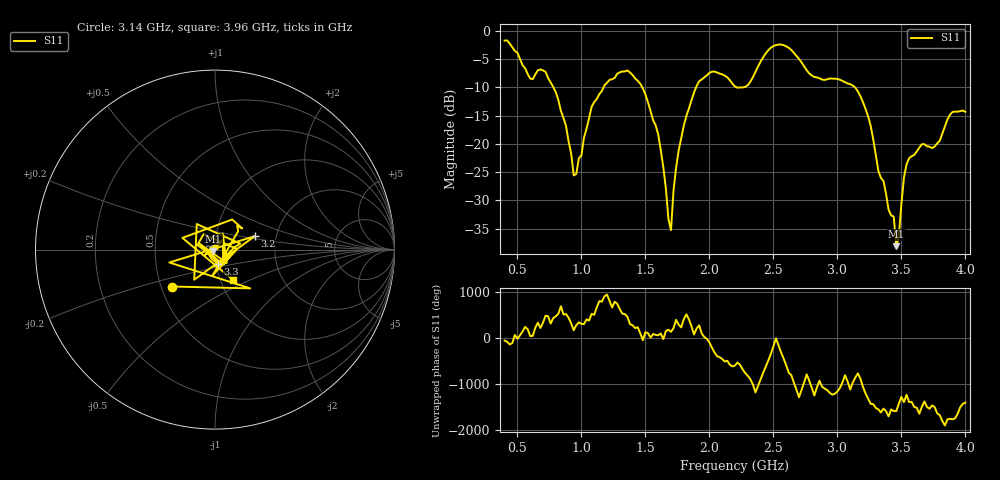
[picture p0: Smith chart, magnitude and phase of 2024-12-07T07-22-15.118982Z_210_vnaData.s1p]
!Created with skrf (http://scikit-rf.org).
# Hz S RI R 50.0
!freq ReS11 ImS11
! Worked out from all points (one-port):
!   181 points, 400 MHz to 4 GHz, reference 50 ohm
!   lowest |S11| = -38.1 dB at 3.46 GHz (marker M1), VSWR 1.03, Z = 49 - j0.706 ohm
!   |S11| at or under -10 dB: 781.8 MHz to 1.173 GHz (390.7 MHz wide, 40 % of centre); 1.476 GHz to 1.896 GHz (419.5 MHz wide, 24.9 % of centre); 3.139 GHz to end of sweep (the widest 3 of 4)
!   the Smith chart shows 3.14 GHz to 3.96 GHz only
!   S11 on the Smith chart (normalised r, x): 3.14 GHz: 0.57, -0.26; 3.2 GHz: 1.55, +0.24; 3.3 GHz: 1.02, -0.16; 3.96 GHz: 1.15, -0.40
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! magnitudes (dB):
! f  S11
! 400 MHz  -1.7
! 600 MHz  -8.4
! 720 MHz  -7.2
! 860 MHz  -15.4
! 960 MHz  -25.3
! 1.08 GHz  -13.4
! 1.3 GHz  -7.3
! 1.46 GHz  -9.3
! 1.58 GHz  -16.7
! 1.7 GHz  -35.3
! 1.72 GHz  -28.2
! 1.76 GHz  -21.1
! 1.92 GHz  -8.9
! 2.2 GHz  -9.8
! 2.5 GHz  -2.7
! 2.66 GHz  -3.9
! 2.82 GHz  -8.1
! 3.1 GHz  -9.4
! 3.14 GHz  -10.0
! 3.2 GHz  -12.6
! 3.3 GHz  -22.0
! 3.44 GHz  -32.9
! 3.46 GHz  -38.1
! 3.48 GHz  -36.4
! 3.52 GHz  -26.0
! 3.56 GHz  -22.6
! 3.96 GHz  -14.2
! 4 GHz  -14.3
